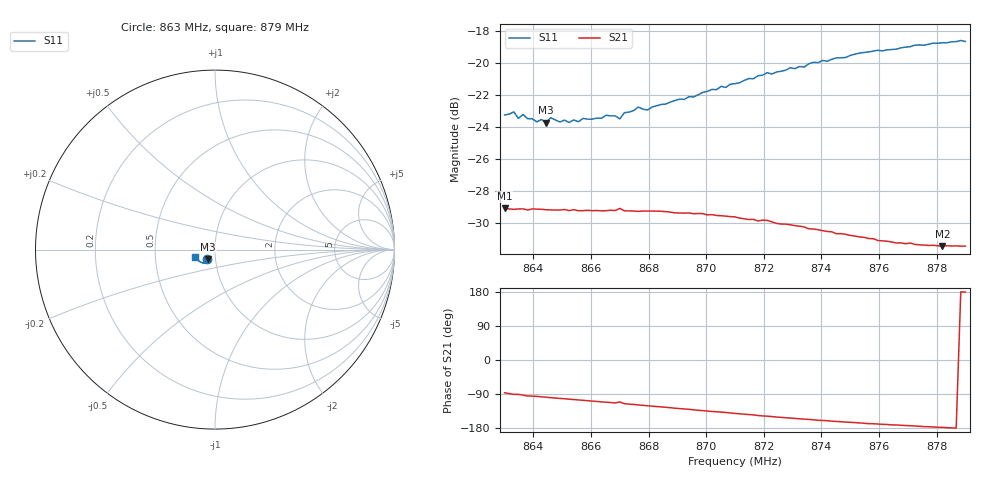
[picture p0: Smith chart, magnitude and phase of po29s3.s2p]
# HZ S RI R 50
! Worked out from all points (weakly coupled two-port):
!   101 points, 863 MHz to 879 MHz, reference 50 ohm
!   highest |S21| = -29.07 dB at 863 MHz (marker M1); lowest = -31.4 dB at 878.2 MHz (marker M2)
!   lowest |S11| = -23.7 dB at 864.44 MHz (marker M3), VSWR 1.14, Z = 46 - j4.85 ohm
!   |S11| at or under -10 dB: start of sweep to end of sweep
!   S12 and S22 are empty: the file has one direction only
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8.63e8  -0.0424 -0.0541  0.00217 -0.0351  0 0  0 0
8.6332e8  -0.0464 -0.0527  -0.000468 -0.0349  0 0  0 0
8.6348e8  -0.0428 -0.0516  -0.000455 -0.035  0 0  0 0
8.6364e8  -0.0432 -0.0537  -0.00165 -0.035  0 0  0 0
8.638e8  -0.0403 -0.0534  -0.00304 -0.0346  0 0  0 0
8.6444e8  -0.0385 -0.0524  -0.00486 -0.0345  0 0  0 0
8.646e8  -0.0399 -0.0542  -0.00569 -0.0343  0 0  0 0
8.6524e8  -0.0364 -0.0539  -0.00797 -0.0337  0 0  0 0
8.6572e8  -0.0362 -0.0564  -0.00973 -0.0332  0 0  0 0
8.6636e8  -0.0355 -0.0569  -0.0121 -0.0323  0 0  0 0
8.6652e8  -0.0352 -0.0588  -0.0126 -0.0322  0 0  0 0
8.67e8  -0.0304 -0.0595  -0.0124 -0.0329  0 0  0 0
8.6716e8  -0.035 -0.0604  -0.0147 -0.0312  0 0  0 0
8.6764e8  -0.0365 -0.0629  -0.0164 -0.0302  0 0  0 0
8.6796e8  -0.0353 -0.0618  -0.0177 -0.0296  0 0  0 0
8.6844e8  -0.0362 -0.0646  -0.0191 -0.0286  0 0  0 0
8.71e8  -0.047 -0.072  -0.0256 -0.0209  0 0  0 0
8.734e8  -0.0628 -0.0737  -0.0281 -0.0125  0 0  0 0
8.7372e8  -0.0672 -0.0744  -0.028 -0.0115  0 0  0 0
8.7644e8  -0.0907 -0.0621  -0.0273 -0.0042  0 0  0 0
8.782e8  -0.1051 -0.0477  -0.0268 -0.00111  0 0  0 0
8.79e8  -0.1093 -0.0402  -0.0268 0.00037  0 0  0 0
